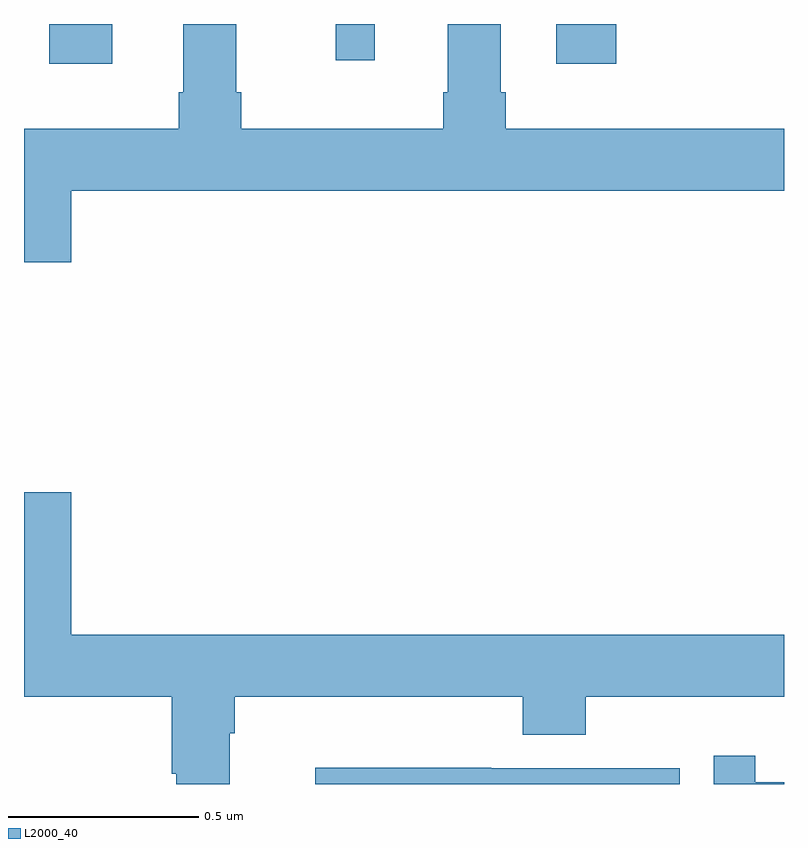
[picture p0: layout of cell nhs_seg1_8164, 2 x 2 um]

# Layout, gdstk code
import gdstk
lib = gdstk.Library(unit=1e-6, precision=1e-09)
def R(c, l, rs):  # rectangles x0, y0, x1, y1
    for r in rs: c.add(gdstk.rectangle(r[:2], r[2:], *l))
def P(c, l, *ps):  # polygons
    for p in ps: c.add(gdstk.Polygon(p, *l))
L2000_40 = (2000, 40)

nhs_seg1_8164 = lib.new_cell('nhs_seg1_8164')
R(nhs_seg1_8164, L2000_40, [(213.067,524.094,213.232,524.199), (214.4,524.094,214.559,524.199), (213.82,524.103,213.923,524.199)])
P(nhs_seg1_8164, L2000_40, [(213.124,523.76),(215,523.76),(215,523.924),(214.268,523.924),(214.268,524.02),(214.255,524.02),(214.255,524.199),(214.115,524.199),(214.115,524.02),(214.103,524.02),(214.103,523.924),(213.572,523.924),(213.572,524.02),(213.559,524.02),(213.559,524.199),(213.419,524.199),(213.419,524.02),(213.407,524.02),(213.407,523.924),(213,523.924),(213,523.572),(213.124,523.572)],
  [(213.541,522.332),(213.554,522.332),(213.554,522.428),(214.313,522.428),(214.313,522.329),(214.478,522.329),(214.478,522.428),(215,522.428),(215,522.592),(213.124,522.592),(213.124,522.967),(213,522.967),(213,522.428),(213.389,522.428),(213.389,522.226),(213.401,522.226),(213.401,522.199),(213.541,522.199)],
  [(215,522.204),(214.924,522.204),(214.924,522.274),(214.815,522.274),(214.815,522.199),(215,522.199)],
  [(214.725,522.24),(214.229,522.24),(214.229,522.242),(213.766,522.242),(213.766,522.199),(214.725,522.199)])

lib.write_gds('nhs_seg1_8164.gds')
